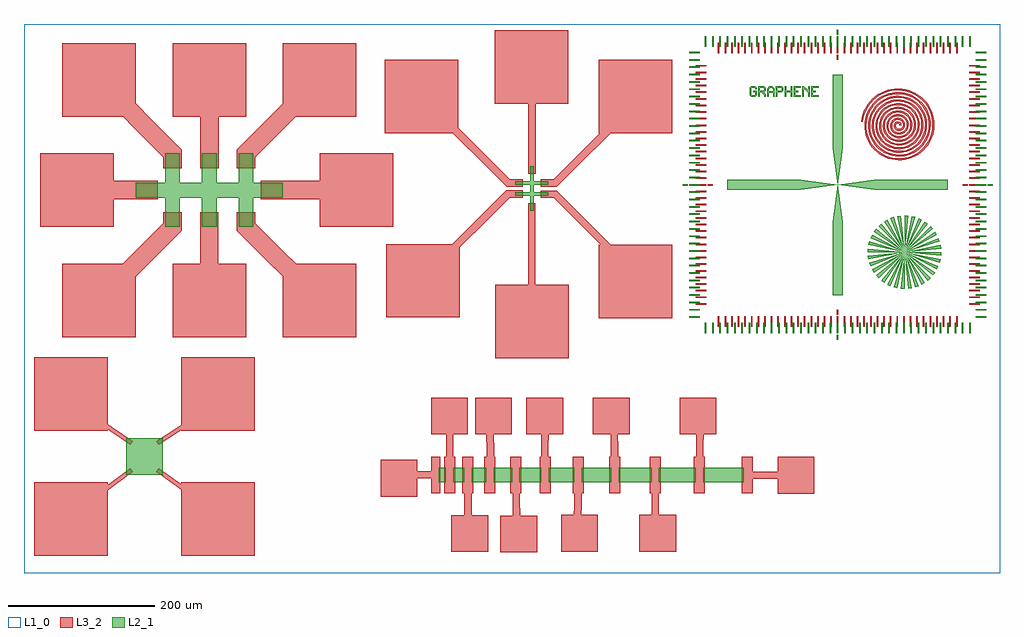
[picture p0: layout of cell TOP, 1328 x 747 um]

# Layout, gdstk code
from math import pi, radians
import gdstk
lib = gdstk.Library(unit=1e-6, precision=1e-09)
def R(c, l, rs):  # rectangles x0, y0, x1, y1
    for r in rs: c.add(gdstk.rectangle(r[:2], r[2:], *l))
def A(c, l, x, y, w, h, nx, ny, dx, dy):  # array of equal rectangles
    R(c, l, [(x+i*dx, y+j*dy, x+i*dx+w, y+j*dy+h) for i in range(nx) for j in range(ny)])
def P(c, l, *ps):  # polygons
    for p in ps: c.add(gdstk.Polygon(p, *l))
L1_0 = (1, 0)
L2_1 = (2, 1)
L3_2 = (3, 2)

hallbar_1 = lib.new_cell('HallBar$1')
P(hallbar_1, L2_1, [(-600,-500),(-600,-100),(-1000,-100),(-1000,100),(-600,100),(-600,500),(-400,500),(-400,100),(-100,100),(-100,500),(100,500),(100,100),(400,100),(400,500),(600,500),(600,100),(1000,100),(1000,-100),(600,-100),(600,-500),(400,-500),(400,-100),(100,-100),(100,-500),(-100,-500),(-100,-100),(-400,-100),(-400,-500)])

hallbar = lib.new_cell('HallBar')
P(hallbar, L2_1, [(-100,-225),(-100,-25),(-300,-25),(-300,25),(-100,25),(-100,225),(-50,225),(-50,25),(50,25),(50,225),(100,225),(100,25),(300,25),(300,-25),(100,-25),(100,-225),(50,-225),(50,-25),(-50,-25),(-50,-225)])

align_default_1 = lib.new_cell('Align_default$1')
A(align_default_1, L2_1, -1810, -2020, 20, 140, 37, 2, 100, 3900)
A(align_default_1, L2_1, -2020, -1810, 140, 20, 1, 37, 0, 100)
A(align_default_1, L2_1, 1880, -1810, 140, 20, 1, 37, 0, 100)
R(align_default_1, L2_1, [(-10,-2110,10,-2040), (-2110,-10,-2040,10), (2040,-10,2110,10), (-10,2040,10,2110)])
P(align_default_1, L2_1, [(-1180,1200),(-1200,1220),(-1200,1320),(-1180,1340),(-1120,1340),(-1100,1320),(-1100,1300),(-1120,1300),(-1120,1310),(-1130,1320),(-1170,1320),(-1180,1310),(-1180,1230),(-1170,1220),(-1130,1220),(-1120,1230),(-1120,1260),(-1150,1260),(-1150,1280),(-1100,1280),(-1100,1220),(-1120,1200)],
  [(-1080,1200),(-1080,1340),(-1000,1340),(-980,1320),(-1060,1320),(-1060,1280),(-1010,1280),(-1000,1290),(-1000,1310),(-1010,1320),(-980,1320),(-980,1280),(-1000,1260),(-1000,1250),(-980,1230),(-980,1200),(-1000,1200),(-1000,1220),(-1040,1260),(-1060,1260),(-1060,1200)],
  [(-960,1200),(-960,1310),(-930,1340),(-890,1340),(-870,1320),(-920,1320),(-940,1300),(-940,1270),(-880,1270),(-880,1300),(-900,1320),(-870,1320),(-860,1310),(-860,1200),(-880,1200),(-880,1250),(-940,1250),(-940,1200)],
  [(-840,1200),(-840,1340),(-760,1340),(-740,1320),(-740,1280),(-760,1260),(-820,1260),(-820,1280),(-770,1280),(-760,1290),(-760,1310),(-770,1320),(-820,1320),(-820,1200)],
  [(-720,1200),(-720,1340),(-700,1340),(-700,1280),(-640,1280),(-640,1340),(-620,1340),(-620,1200),(-640,1200),(-640,1260),(-700,1260),(-700,1200)],
  [(-600,1200),(-600,1340),(-500,1340),(-500,1320),(-580,1320),(-580,1280),(-540,1280),(-540,1260),(-580,1260),(-580,1220),(-500,1220),(-500,1200)],
  [(-480,1200),(-480,1340),(-460,1340),(-410,1290),(-400,1290),(-400,1340),(-380,1340),(-380,1200),(-400,1200),(-400,1250),(-450,1300),(-460,1300),(-460,1200)],
  [(-360,1200),(-360,1340),(-260,1340),(-260,1320),(-340,1320),(-340,1280),(-300,1280),(-300,1260),(-340,1260),(-340,1220),(-260,1220),(-260,1200)],
  [(-70,-1500),(-70,-500),(0,0),(500,70),(1500,70),(1500,-70),(500,-70),(0,0),(-70,500),(-70,1500),(70,1500),(70,500),(0,0),(-500,-70),(-1500,-70),(-1500,70),(-500,70),(0,0),(70,-500),(70,-1500)])
A(align_default_1, L3_2, -1630, -1930, 20, 140, 37, 2, 90, 3720)
A(align_default_1, L3_2, -1930, -1630, 140, 20, 1, 37, 0, 90)
A(align_default_1, L3_2, 1790, -1630, 140, 20, 1, 37, 0, 90)
R(align_default_1, L3_2, [(-10,-1770,10,-1700), (-1770,-10,-1700,10), (1700,-10,1770,10), (-10,1700,10,1770)])

lines_2 = lib.new_cell('Lines$2')
R(lines_2, L3_2, [(0,0,150,500), (250,0,400,500), (550,0,700,500), (900,0,1050,500), (1300,0,1450,500), (1750,0,1900,500), (2250,0,2400,500), (2800,0,2950,500), (3400,0,3550,500), (4050,0,4200,500)])

lines_1 = lib.new_cell('Lines$1')
R(lines_1, L2_1, [(0,0,100,200), (200,0,350,200), (450,0,650,200), (750,0,1000,200), (1100,0,1400,200), (1500,0,1850,200), (1950,0,2350,200), (2450,0,2900,200), (3000,0,3500,200), (3600,0,4150,200)])

siemens_star = lib.new_cell('Siemens_star')
P(siemens_star, L2_1, [(0,-500),(-49.009,-497.592),(0,0),(-97.545,-490.393),(-145.142,-478.47),(0,0),(-191.342,-461.94),(-235.698,-440.961),(0,0),(-277.785,-415.735),(-317.197,-386.505),(0,0),(-353.553,-353.553),(-386.505,-317.197),(0,0),(-415.735,-277.785),(-440.961,-235.698),(0,0),(-461.94,-191.342),(-478.47,-145.142),(0,0),(-490.393,-97.545),(-497.592,-49.009),(0,0),(-500,0),(-497.592,49.009),(0,0),(-490.393,97.545),(-478.47,145.142),(0,0),(-461.94,191.342),(-440.961,235.698),(0,0),(-415.735,277.785),(-386.505,317.197),(0,0),(-353.553,353.553),(-317.197,386.505),(0,0),(-277.785,415.735),(-235.698,440.961),(0,0),(-191.342,461.94),(-145.142,478.47),(0,0),(-97.545,490.393),(-49.009,497.592),(0,0),(0,500),(49.009,497.592),(0,0),(97.545,490.393),(145.142,478.47),(0,0),(191.342,461.94),(235.698,440.961),(0,0),(277.785,415.735),(317.197,386.505),(0,0),(353.553,353.553),(386.505,317.197),(0,0),(415.735,277.785),(440.961,235.698),(0,0),(461.94,191.342),(478.47,145.142),(0,0),(490.393,97.545),(497.592,49.009),(0,0),(500,0),(497.592,-49.009),(0,0),(490.393,-97.545),(478.47,-145.142),(0,0),(461.94,-191.342),(440.961,-235.698),(0,0),(415.735,-277.785),(386.505,-317.197),(0,0),(353.553,-353.553),(317.197,-386.505),(0,0),(277.785,-415.735),(235.698,-440.961),(0,0),(191.342,-461.94),(145.142,-478.47),(0,0),(97.545,-490.393),(49.009,-497.592),(0,0)])

spiral_1 = lib.new_cell('Spiral$1')
spiral_1.add(gdstk.FlexPath([(25,0),(25.657,2.527),(26.052,5.182),(26.166,7.937),(25.984,10.763),(25.493,13.626),(24.684,16.493),(23.553,19.329),(22.097,22.097),(20.32,24.76),(18.23,27.283),(15.836,29.627),(13.155,31.758),(10.205,33.642),(7.011,35.247),(3.599,36.542),(0,37.5),(-3.752,38.097),(-7.621,38.312),(-11.566,38.128),(-15.547,37.533),(-19.519,36.517),(-23.438,35.078),(-27.259,33.215),(-30.936,30.936),(-34.423,28.25),(-37.676,25.174),(-40.651,21.728),(-43.307,17.938),(-45.604,13.834),(-47.507,9.45),(-48.982,4.824),(-50,0),(-50.537,-4.977),(-50.572,-10.059),(-50.09,-15.195),(-49.081,-20.33),(-47.541,-25.411),(-45.471,-30.383),(-42.878,-35.189),(-39.775,-39.775),(-36.18,-44.086),(-32.119,-48.069),(-27.621,-51.675),(-22.722,-54.855),(-17.462,-57.566),(-11.888,-59.767),(-6.049,-61.422),(0,-62.5),(6.203,-62.977),(12.498,-62.832),(18.823,-62.052),(25.114,-60.63),(31.304,-58.565),(37.327,-55.864),(43.119,-52.541),(48.614,-48.614),(53.748,-44.11),(58.463,-39.064),(62.699,-33.513),(66.404,-27.505),(69.528,-21.091),(72.026,-14.327),(73.861,-7.275),(75,0),(75.416,7.428),(75.091,14.937),(74.013,22.452),(72.178,29.897),(69.589,37.196),(66.258,44.272),(62.203,51.049),(57.452,57.452),(52.04,63.411),(46.008,68.856),(39.406,73.723),(32.289,77.952),(24.72,81.489),(16.766,84.286),(8.5,86.301),(0,87.5),(-8.653,87.856),(-17.375,87.351),(-26.08,85.975),(-34.681,83.727),(-43.089,80.613),(-51.217,76.651),(-58.979,71.866),(-66.291,66.291),(-73.074,59.97),(-79.249,52.953),(-84.747,45.298),(-89.501,37.072),(-93.451,28.348),(-96.546,19.204),(-98.741,9.725),(-100,0),(-100.296,-9.878),(-99.611,-19.814),(-97.937,-29.709),(-95.275,-39.464),(-91.637,-48.981),(-87.044,-58.161),(-81.528,-66.909),(-75.13,-75.13),(-67.9,-82.736),(-59.897,-89.643),(-51.191,-95.771),(-41.856,-101.049),(-31.977,-105.413),(-21.643,-108.806),(-10.95,-111.181),(0,-112.5),(11.104,-112.736),(22.252,-111.871),(33.337,-109.899),(44.248,-106.824),(54.874,-102.661),(65.106,-97.438),(74.839,-91.191),(83.969,-83.969),(92.399,-75.83),(100.036,-66.842),(106.795,-57.083),(112.598,-46.64),(117.375,-35.605),(121.066,-24.081),(123.621,-12.176),(125,0),(125.176,12.329),(124.131,24.691),(121.86,36.966),(118.372,49.031),(113.685,60.766),(107.831,72.051),(100.854,82.768),(92.808,92.808),(83.76,102.062),(73.787,110.43),(62.976,117.819),(51.423,124.146),(39.234,129.336),(26.52,133.325),(13.401,136.06),(0,137.5),(-13.554,137.615),(-27.13,136.39),(-40.594,133.822),(-53.815,129.921),(-66.658,124.709),(-78.995,118.225),(-90.698,110.516),(-101.647,101.647),(-111.724,91.69),(-120.823,80.731),(-128.843,68.868),(-135.695,56.207),(-141.298,42.862),(-145.585,28.959),(-148.5,14.626),(-150,0),(-150.055,-14.779),(-148.65,-29.568),(-145.784,-44.223),(-141.469,-58.598),(-135.733,-72.551),(-128.618,-85.94),(-120.179,-98.628),(-110.485,-110.485),(-99.62,-121.387),(-87.676,-131.216),(-74.761,-139.867),(-60.99,-147.243),(-46.491,-153.26),(-31.397,-157.845),(-15.851,-160.94),(0,-162.5),(16.004,-162.495),(32.007,-160.91),(47.852,-157.746),(63.382,-153.018),(78.443,-146.757),(92.884,-139.011),(106.558,-129.842),(119.324,-119.324),(131.049,-107.549),(141.61,-94.621),(150.891,-80.653),(158.792,-65.774),(165.222,-50.119),(170.105,-33.836),(173.38,-17.076),(175,0),(174.935,17.23),(173.17,34.446),(169.707,51.48),(164.566,68.165),(157.781,84.336),(149.405,99.829),(139.504,114.488),(128.163,128.163),(115.479,140.712),(101.565,152.003),(86.545,161.915),(70.557,170.34),(53.748,177.183),(36.275,182.365),(18.302,185.82),(0,187.5),(-18.455,187.375),(-36.884,185.43),(-55.109,181.669),(-72.949,176.115),(-90.228,168.805),(-106.774,159.798),(-122.418,149.167),(-137.002,137.002),(-150.375,123.409),(-162.396,108.51),(-172.939,92.438),(-181.889,75.341),(-189.145,57.377),(-194.625,38.713),(-198.259,19.527),(-200,0),(-199.814,-19.68),(-197.69,-39.323),(-193.631,-58.737),(-187.663,-77.733),(-179.829,-96.121),(-170.191,-113.718),(-158.829,-130.348),(-145.841,-145.841),(-131.339,-160.037),(-115.454,-172.79),(-98.33,-183.963),(-80.124,-193.437),(-61.005,-201.107),(-41.152,-206.884),(-20.752,-210.699),(0,-212.5),(20.905,-212.254),(41.762,-209.949),(62.366,-205.593),(82.516,-199.212),(102.013,-190.853),(120.663,-180.585),(138.278,-168.492),(154.68,-154.68),(169.7,-139.269),(183.183,-122.399),(194.987,-104.223),(204.986,-84.908),(213.069,-64.634),(219.144,-43.59),(223.139,-21.977),(225,0),(224.694,22.13),(222.209,44.2),(217.554,65.994),(210.76,87.3),(201.877,107.906),(190.978,127.608),(178.155,146.208),(163.518,163.518),(147.199,179.363),(129.344,193.577),(110.115,206.011),(89.691,216.534),(68.262,225.031),(46.029,231.404),(23.202,235.579),(0,237.5),(-23.356,237.134),(-46.639,234.469),(-69.623,229.516),(-92.083,222.309),(-113.798,212.901),(-134.552,201.372),(-154.138,187.817),(-172.357,172.357),(-189.025,155.129),(-203.97,136.288),(-217.035,116.008),(-228.083,94.475),(-236.992,71.891),(-243.664,48.468),(-248.019,24.428),(-250,0),(-249.574,-24.581),(-246.729,-49.077),(-241.478,-73.252),(-233.857,-96.867),(-223.925,-119.691),(-211.765,-141.497),(-197.48,-162.068),(-181.196,-181.196),(-163.059,-198.688),(-143.233,-214.363),(-121.9,-228.059),(-99.259,-239.631),(-75.519,-248.954),(-50.906,-255.924),(-25.653,-260.459),(0,-262.5),(25.806,-262.013),(51.516,-258.989),(76.88,-253.44),(101.65,-245.406),(125.583,-234.949),(148.441,-222.158),(169.998,-207.143),(190.035,-190.035),(208.35,-170.989),(224.757,-150.178),(239.083,-127.793),(251.18,-104.042),(260.916,-79.148),(268.183,-53.345),(272.898,-26.878),(275,0),(274.453,27.031),(271.248,53.955),(265.401,80.509),(256.954,106.434),(245.973,131.475),(232.552,155.386),(216.805,177.927),(198.874,198.874),(178.919,218.013),(157.122,235.15),(133.685,250.107),(108.826,262.728),(82.776,272.878),(55.784,280.443),(28.103,285.338),(0,287.5),(-28.257,286.893),(-56.393,283.508),(-84.137,277.363),(-111.217,268.502),(-137.368,256.997),(-162.331,242.945),(-185.857,226.468),(-207.713,207.713),(-227.676,186.849),(-245.543,164.067),(-261.131,139.578),(-274.277,113.609),(-284.839,86.405),(-292.703,58.222),(-297.778,29.329),(-300,0),(-299.333,-29.482),(-295.768,-58.832),(-289.325,-87.766),(-280.051,-116.001),(-268.021,-143.26),(-253.338,-169.275),(-236.131,-193.787),(-216.551,-216.551),(-194.779,-237.338),(-171.011,-255.937),(-145.47,-272.155),(-118.393,-285.825),(-90.034,-296.801),(-60.661,-304.963),(-30.554,-310.218),(0,-312.5),(30.707,-311.773),(61.271,-308.028),(91.394,-301.287),(120.784,-291.599),(149.153,-279.045),(176.22,-263.732),(201.717,-245.793),(225.39,-225.39),(247.001,-202.708),(266.33,-177.956),(283.179,-151.363),(297.374,-123.176),(308.763,-93.662),(317.223,-63.1),(322.658,-31.779),(325,0),(324.213,31.932),(320.288,63.709),(313.248,95.023),(303.148,125.568),(290.069,155.045),(274.125,183.165),(255.456,209.647),(234.229,234.229),(210.638,256.664),(184.901,276.723),(157.255,294.203),(127.96,308.922),(97.291,320.725),(65.538,329.483),(33.004,335.097),(0,337.5),(-33.157,336.652),(-66.148,332.548),(-98.651,325.21),(-130.352,314.696),(-160.938,301.093),(-190.109,284.519),(-217.577,265.118),(-243.068,243.068),(-266.326,218.568),(-287.117,191.845),(-305.227,163.147),(-320.471,132.743),(-332.686,100.919),(-341.742,67.977),(-347.537,34.229),(-350,0),(-349.092,-34.383),(-344.807,-68.586),(-337.172,-102.28),(-326.245,-135.135),(-312.117,-166.83),(-294.912,-197.054),(-274.781,-225.507),(-251.907,-251.907),(-226.498,-275.989),(-198.79,-297.51),(-169.04,-316.251),(-137.527,-332.019),(-104.548,-344.648),(-70.415,-354.002),(-35.455,-359.977),(0,-362.5),(35.608,-361.532),(71.025,-357.067),(105.909,-349.134),(139.919,-337.793),(172.723,-323.141),(203.998,-305.305),(233.437,-284.444),(260.746,-260.746),(285.652,-234.428),(307.904,-205.735),(327.275,-174.932),(343.568,-142.31),(356.61,-108.176),(366.262,-72.854),(372.417,-36.68),(375,0),(373.972,36.833),(369.327,73.464),(361.095,109.537),(349.342,144.702),(334.165,178.615),(315.699,210.943),(294.106,241.367),(269.584,269.584),(242.358,295.314),(212.679,318.297),(180.825,338.299),(147.094,355.116),(111.805,368.572),(75.293,378.522),(37.905,384.857),(0,387.5),(-38.058,386.412),(-75.902,381.587),(-113.166,373.057),(-149.486,360.89),(-184.508,345.189),(-217.888,326.092),(-249.297,303.769),(-278.423,278.423),(-304.977,250.288),(-328.69,219.624),(-349.324,186.717),(-366.665,151.877),(-380.533,115.434),(-390.782,77.731),(-397.296,39.13),(-400,0),(-398.851,-39.283),(-393.847,-78.341),(-385.019,-116.794),(-372.439,-154.269),(-356.214,-190.4),(-336.485,-224.832),(-313.432,-257.227),(-287.262,-287.262),(-258.218,-314.639),(-226.568,-339.084),(-192.61,-360.348),(-156.661,-378.213),(-119.062,-392.495),(-80.17,-403.041),(-40.355,-409.736),(0,-412.5),(40.509,-411.291),(80.78,-406.106),(120.423,-396.981),(159.053,-383.987),(196.293,-367.238),(231.777,-346.879),(265.157,-323.094),(296.101,-296.101),(324.302,-266.148),(349.477,-233.513),(371.372,-198.502),(389.762,-161.445),(404.457,-122.691),(415.301,-82.609),(422.176,-41.581),(425,0),(423.731,41.734),(418.366,83.218),(408.942,124.051),(395.536,163.836),(378.262,202.185),(357.272,238.722),(332.757,273.086),(304.94,304.94),(274.078,333.965),(240.458,359.87),(204.395,382.396),(166.228,401.31),(126.319,416.419),(85.047,427.561),(42.806,434.616),(0,437.5),(-42.959,436.171),(-85.657,430.626),(-127.68,420.904),(-168.62,407.084),(-208.077,389.286),(-245.666,367.665),(-281.016,342.419),(-313.779,313.779),(-343.627,282.008),(-370.264,247.402),(-393.42,210.287),(-412.859,171.012),(-428.38,129.948),(-439.821,87.486),(-447.056,44.031),(-450,0),(-448.611,-44.184),(-442.886,-88.095),(-432.866,-131.308),(-418.633,-173.403),(-400.31,-213.97),(-378.059,-252.611),(-352.082,-288.946),(-322.617,-322.617),(-289.938,-353.29),(-254.347,-380.657),(-216.18,-404.444),(-175.795,-424.407),(-133.576,-440.342),(-89.924,-452.081),(-45.256,-459.495),(0,-462.5),(45.41,-461.05),(90.534,-455.146),(134.937,-444.828),(178.187,-430.181),(219.862,-411.334),(259.555,-388.452),(296.876,-361.745),(331.456,-331.456),(362.953,-297.867),(391.051,-261.292),(415.468,-222.072),(435.956,-180.579),(452.304,-137.205),(464.341,-92.363),(471.935,-46.482),(475,0),(473.49,46.635),(467.405,92.973),(456.789,138.566),(441.73,182.971),(422.358,225.755),(398.846,266.5),(371.407,304.806),(340.295,340.295),(305.797,372.615),(268.236,401.444),(227.965,426.492),(185.362,447.504),(140.833,464.266),(94.802,476.6),(47.707,484.375),(0,487.5),(-47.86,485.93),(-95.411,479.665),(-142.194,468.751),(-187.754,453.278),(-231.647,433.382),(-273.445,409.239),(-312.736,381.07),(-349.134,349.134),(-382.278,313.727),(-411.837,275.181),(-437.516,233.857),(-459.053,190.146),(-476.227,144.462),(-488.86,97.24),(-496.815,48.932)], 25, ends="flush", simple_path=True, layer=3, datatype=2))  # L3_2

write_area = lib.new_cell('Write_area')
R(write_area, L1_0, [(-664,-373.5,664,373.5)])

top = lib.new_cell('TOP')
R(top, L2_1, [(-525,-240,-475,-190)])
A(top, L3_2, -611.9, -52.6, 100, 100, 3, 2, 150, 300)
R(top, L3_2, [(-650,-350,-550,-250), (-450,-350,-350,-250), (-15.9,-345.6,34.1,-295.6), (-82.5,-344.7,-32.5,-294.7), (66.7,-344.3,116.7,-294.3), (173.2,-344.3,223.2,-294.3), (-178.7,-269.5,-128.7,-219.5), (361.5,-265.5,411.5,-215.5), (-110,-265,-97.5,-215.1), (-109.9,-185,-59.9,-135), (-50.2,-185,-0.2,-135), (19.7,-185,69.7,-135), (109.9,-185,159.9,-135), (228.2,-185,278.2,-135), (-650,-180,-550,-80), (-450,-180,-350,-80), (-22.85,-81.15,77.15,18.85), (118.35,-26.75,218.35,73.25), (-170.95,-25.85,-70.95,74.15), (-641.9,97.4,-541.9,197.4), (-261.9,97.4,-161.9,197.4), (-172.85,224.95,-72.85,324.95), (118.35,224.95,218.35,324.95), (-23.35,264.95,76.65,364.95)])
top.add(gdstk.FlexPath([(-361.9,117.4),(-361.9,97.4),(-261.9,-2.6)], 25, ends="flush", simple_path=True, layer=3, datatype=2))  # L3_2
top.add(gdstk.FlexPath([(-361.9,177.4),(-361.9,197.4),(-261.9,297.4)], 25, ends="flush", simple_path=True, layer=3, datatype=2))  # L3_2
top.add(gdstk.FlexPath([(-341.9,147.4),(-211.9,147.4)], 25, ends="flush", simple_path=True, layer=3, datatype=2))  # L3_2
top.add(gdstk.FlexPath([(-411.8,297.4),(-411.8,177.4)], 25, ends="flush", simple_path=True, layer=3, datatype=2))  # L3_2
top.add(gdstk.FlexPath([(-461.9,177.4),(-461.9,197.4),(-561.9,297.4)], 25, ends="flush", simple_path=True, layer=3, datatype=2))  # L3_2
top.add(gdstk.FlexPath([(-481.9,147.4),(-611.9,147.4)], 25, ends="flush", simple_path=True, layer=3, datatype=2))  # L3_2
top.add(gdstk.FlexPath([(14.55,142.35),(-5.45,142.35),(-105.45,42.35)], 10, ends="flush", simple_path=True, layer=3, datatype=2))  # L3_2
top.add(gdstk.FlexPath([(-411.9,-2.6),(-411.9,117.4)], 25, ends="flush", simple_path=True, layer=3, datatype=2))  # L3_2
top.add(gdstk.FlexPath([(-461.9,117.4),(-461.9,97.4),(-561.9,-2.6)], 25, ends="flush", simple_path=True, layer=3, datatype=2))  # L3_2
top.add(gdstk.FlexPath([(38.95,141.85),(58.95,141.85),(158.95,41.85)], 10, ends="flush", simple_path=True, layer=3, datatype=2))  # L3_2
top.add(gdstk.FlexPath([(26.95,129.35),(26.95,-0.65)], 10, ends="flush", simple_path=True, layer=3, datatype=2))  # L3_2
top.add(gdstk.FlexPath([(39.15,157.25),(59.15,157.25),(159.15,257.25)], 10, ends="flush", simple_path=True, layer=3, datatype=2))  # L3_2
top.add(gdstk.FlexPath([(27.35,170.05),(27.35,300.05)], 10, ends="flush", simple_path=True, layer=3, datatype=2))  # L3_2
top.add(gdstk.FlexPath([(14.65,157.25),(-5.35,157.25),(-105.35,257.25)], 10, ends="flush", simple_path=True, layer=3, datatype=2))  # L3_2
top.add(gdstk.FlexPath([(-84.8,-221),(-84.8,-166.2)], 10, ends="flush", simple_path=True, layer=3, datatype=2))  # L3_2
top.add(gdstk.FlexPath([(-60,-258.1),(-60,-305.6)], 10, ends="flush", simple_path=True, layer=3, datatype=2))  # L3_2
top.add(gdstk.FlexPath([(-29.1,-219.6),(-29.8,-172)], 10, ends="flush", simple_path=True, layer=3, datatype=2))  # L3_2
top.add(gdstk.FlexPath([(5.7,-258.1),(6,-312)], 10, ends="flush", simple_path=True, layer=3, datatype=2))  # L3_2
top.add(gdstk.FlexPath([(44.5,-220.9),(44.8,-165.9)], 10, ends="flush", simple_path=True, layer=3, datatype=2))  # L3_2
top.add(gdstk.FlexPath([(89.6,-260.1),(89.1,-317.1)], 10, ends="flush", simple_path=True, layer=3, datatype=2))  # L3_2
top.add(gdstk.FlexPath([(139.4,-221.7),(139.2,-165.5)], 10, ends="flush", simple_path=True, layer=3, datatype=2))  # L3_2
top.add(gdstk.FlexPath([(195,-258.4),(195,-308.4)], 10, ends="flush", simple_path=True, layer=3, datatype=2))  # L3_2
top.add(gdstk.FlexPath([(255.4,-222.1),(255.9,-161.2)], 10, ends="flush", simple_path=True, layer=3, datatype=2))  # L3_2
top.add(gdstk.FlexPath([(322.4,-241),(383.3,-240.5)], 10, ends="flush", simple_path=True, layer=3, datatype=2))  # L3_2
top.add(gdstk.FlexPath([(-104.2,-239.8),(-144.6,-239.7)], 10, ends="flush", simple_path=True, layer=3, datatype=2))  # L3_2
top.add(gdstk.FlexPath([(-584.1,-151.3),(-520,-195)], 6, ends="round", simple_path=True, layer=3, datatype=2))  # L3_2
top.add(gdstk.FlexPath([(-480,-195),(-416.8,-154.1)], 6, ends="round", simple_path=True, layer=3, datatype=2))  # L3_2
top.add(gdstk.FlexPath([(-480,-235),(-409.8,-285)], 6, ends="round", simple_path=True, layer=3, datatype=2))  # L3_2
top.add(gdstk.FlexPath([(-520,-235),(-587.3,-285.6)], 6, ends="round", simple_path=True, layer=3, datatype=2))  # L3_2
top.add(gdstk.Reference(hallbar_1, (-411.9,147.4), magnification=0.1))
top.add(gdstk.Reference(hallbar, (27.15,149.65), rotation=3*pi/2, magnification=0.1))
top.add(gdstk.Reference(align_default_1, (443.2,154.7), magnification=0.1))
top.add(gdstk.Reference(lines_2, (-92.5,-265), magnification=0.1))
top.add(gdstk.Reference(lines_1, (-100,-250), magnification=0.1))
top.add(gdstk.Reference(siemens_star, (534.1,63.1), magnification=0.1))
top.add(gdstk.Reference(spiral_1, (525.9,235.7), magnification=0.1))
top.add(gdstk.Reference(write_area, (0,0)))

lib.write_gds('TOP.gds')
